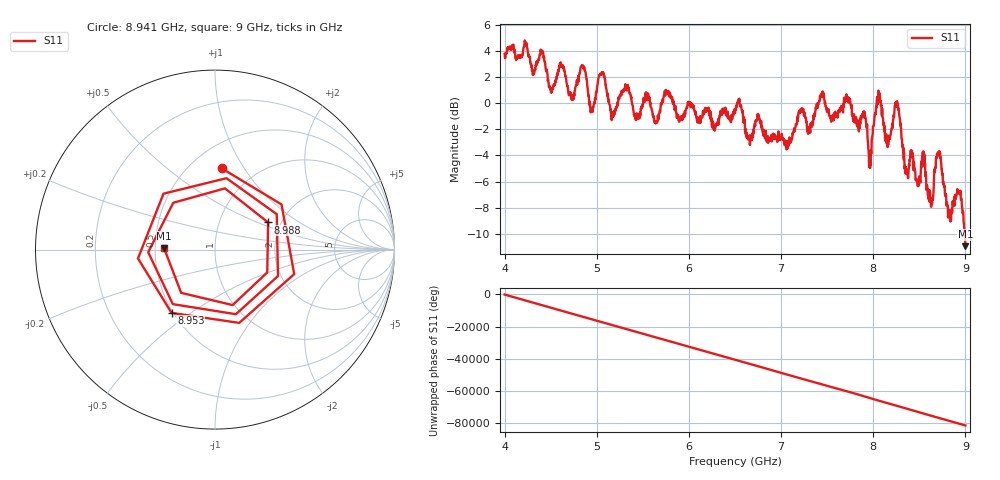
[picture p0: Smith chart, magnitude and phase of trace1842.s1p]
! Created with skrf 1.8.0 (http://scikit-rf.org).
# Hz S RI R 50.0
!freq ReS11 ImS11
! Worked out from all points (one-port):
!   1601 points, 4 GHz to 9 GHz, reference 50 ohm
!   lowest |S11| = -10.9 dB at 9 GHz (marker M1), VSWR 1.79, Z = 27.9 + j0.444 ohm
!   |S11| at or under -10 dB: 8.995289 GHz to end of sweep
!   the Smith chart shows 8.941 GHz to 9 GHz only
!   S11 on the Smith chart (normalised r, x): 8.941 GHz: 0.70, +0.80; 8.953 GHz: 0.49, -0.42; 8.988 GHz: 1.71, +0.58; 9 GHz: 0.56, +0.01
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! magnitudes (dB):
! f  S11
! 4 GHz  3.8
! 4.403 GHz  3.9
! 4.506 GHz  0.9
! 4.625 GHz  2.8
! 4.731 GHz  0.6
! 4.853 GHz  2.7
! 4.944 GHz  -0.7
! 5.05 GHz  2.2
! 5.169 GHz  -0.8
! 5.25 GHz  0.6
! 5.875 GHz  -0.9
! 6.5 GHz  -0.8
! 7.125 GHz  -2.3
! 7.441 GHz  0.7
! 7.75 GHz  0.1
! 7.962 GHz  -4.5
! 8.056 GHz  1.0
! 8.153 GHz  -2.7
! 8.256 GHz  -0.1
! 8.375 GHz  -5.5
! 8.544 GHz  -3.7
! 8.625 GHz  -7.7
! 8.706 GHz  -3.8
! 8.819 GHz  -8.5
! 8.941 GHz  -6.8
! 8.953 GHz  -7.4
! 8.988 GHz  -9.6
! 9 GHz  -10.9
